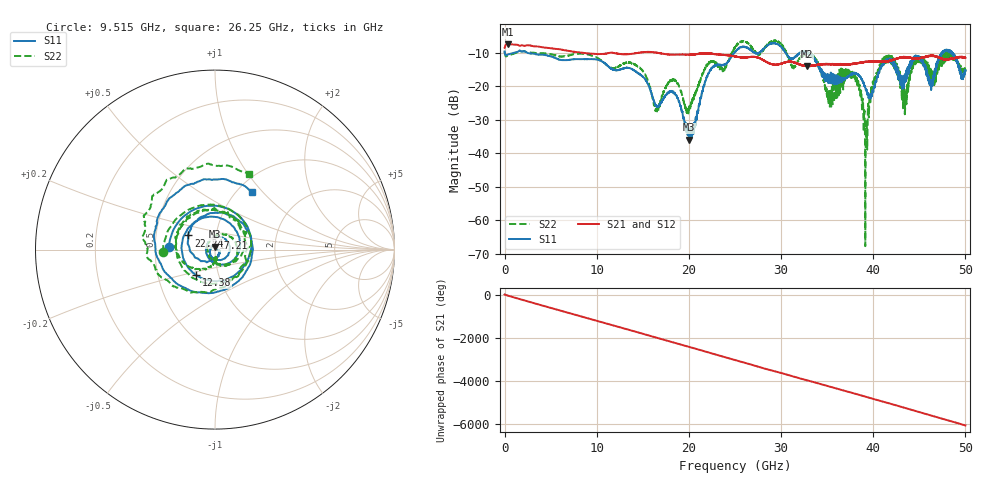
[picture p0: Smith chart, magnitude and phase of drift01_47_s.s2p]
!Created with skrf (http://scikit-rf.org).
# Hz S RI R 50.0
!freq ReS11 ImS11 ReS21 ImS21 ReS12 ImS12 ReS22 ImS22
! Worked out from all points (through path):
!   10001 points, 300 kHz to 50 GHz, reference 50 ohm
!   highest |S21| = -7.33 dB at 325.3 MHz (marker M1); lowest = -14.0 dB at 32.77 GHz (marker M2)
!   group delay of S21, straight-line fit = 335 ps
!   lowest |S11| = -35.9 dB at 20.01 GHz (marker M3), VSWR 1.03, Z = 49.9 + j1.6 ohm
!   |S11| at or under -10 dB: 2.553 GHz to 24.9 GHz (22.35 GHz wide, 163 % of centre); 30.5 GHz to 32.01 GHz (1.512 GHz wide, 4.84 % of centre); 33.07 GHz to 47.41 GHz (14.35 GHz wide, 35.7 % of centre) (the widest 3 of 26)
!   |S22| runs from -67.8 to -6.2 dB; largest |S21 - S12| = 0.0087
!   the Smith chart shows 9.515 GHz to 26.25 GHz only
!   S11 on the Smith chart (normalised r, x): 9.515 GHz: 0.59, +0.02; 12.38 GHz: 0.78, -0.23; 17.21 GHz: 0.97, +0.12; 22.24 GHz: 0.73, +0.12; 26.25 GHz: 1.16, +0.88
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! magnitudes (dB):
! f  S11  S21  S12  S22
! 300 kHz  -9.5  -8.4  -8.5  -9.5
! 325.3 MHz  -10.5  -7.3  -7.3  -10.9
! 8.335 GHz  -11.8  -9.9  -9.9  -10.2
! 9.515 GHz  -11.8  -10.2  -10.2  -10.8
! 12.38 GHz  -15.1  -10.2  -10.2  -13.9
! 16.67 GHz  -26.0  -10.0  -10.0  -27.3
! 17.21 GHz  -23.9  -10.2  -10.2  -21.9
! 20.01 GHz  -35.9  -10.5  -10.5  -26.6
! 22.24 GHz  -15.5  -10.1  -10.1  -12.7
! 25 GHz  -9.6  -11.0  -11.0  -8.5
! 26.25 GHz  -8.4  -11.3  -11.3  -6.7
! 32.77 GHz  -9.7  -14.0  -13.9  -10.2
! 33.34 GHz  -10.8  -13.8  -13.8  -10.6
! 35.23 GHz  -17.2  -13.2  -13.2  -22.6
! 37.99 GHz  -15.9  -13.2  -13.2  -17.3
! 39.17 GHz  -20.8  -12.7  -12.7  -40.4
! 40.15 GHz  -20.2  -12.5  -12.5  -17.3
! 41.67 GHz  -12.3  -12.3  -12.4  -11.5
! 43.38 GHz  -18.0  -11.3  -11.3  -20.5
! 44.89 GHz  -11.4  -11.6  -11.6  -11.2
! 46.24 GHz  -19.0  -10.8  -10.8  -16.2
! 50 GHz  -15.4  -11.4  -11.5  -15.2
